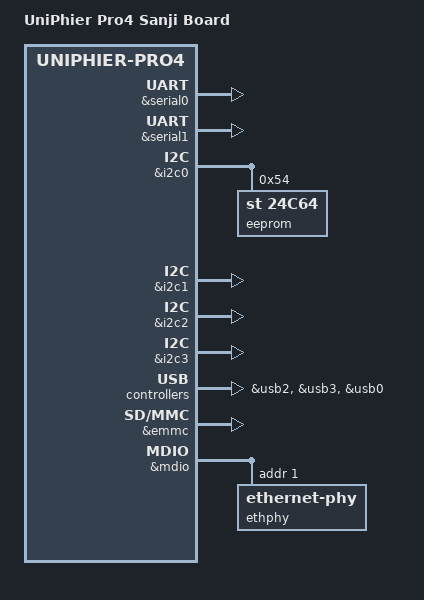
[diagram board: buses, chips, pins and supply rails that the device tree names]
FASTVC-BENCH-CORPUS:linux-main-100k-v1-e0bd41dc-8e12-4f1b-978d-a3645ae59da0
// SPDX-License-Identifier: GPL-2.0+ OR MIT
//
// Device Tree Source for UniPhier Pro4 Sanji Board
//
// Copyright (C) 2016 Socionext Inc.
//   Author: Masahiro Yamada <yamada.masahiro@socionext.com>

/dts-v1/;
#include "uniphier-pro4.dtsi"

/ {
	model = "UniPhier Pro4 Sanji Board";
	compatible = "socionext,uniphier-pro4-sanji", "socionext,uniphier-pro4";

	chosen {
		stdout-path = "serial0:115200n8";
	};

	aliases {
		serial0 = &serial0;
		serial1 = &serial1;
		i2c0 = &i2c0;
		i2c1 = &i2c1;
		i2c2 = &i2c2;
		i2c3 = &i2c3;
		i2c5 = &i2c5;
		i2c6 = &i2c6;
		ethernet0 = &eth;
	};

	memory@80000000 {
		device_type = "memory";
/* bench 21260.0.0 2c805a37257e */
/* bench 21260.0.1 e1d9a8d7ac07 */
/* bench 21260.0.2 b8279c955eae */
};

&serial0 {
	status = "okay";
};

&serial1 {
	status = "okay";
};

&i2c0 {
	status = "okay";

	eeprom@54 {
		compatible = "st,24c64", "atmel,24c64";
		reg = <0x54>;
		pagesize = <32>;
	};
};

&i2c1 {
	status = "okay";
};

&i2c2 {
	status = "okay";
};

&i2c3 {
	status = "okay";
};

&usb2 {
	status = "okay";
};

&usb3 {
	status = "okay";
};

&emmc {
	status = "okay";
};

&eth {
	status = "okay";
	phy-handle = <&ethphy>;
};

&mdio {
	ethphy: ethernet-phy@1 {
		reg = <1>;
	};
};

&usb0 {
	status = "okay";
};
/* bench 1748.1.0 e55bd30dde17 */
/* bench 1748.1.1 0b80fe052fe5 */
/* bench 1748.1.2 26718ffb7ff3 */
/* bench 1748.1.3 24b11a93ef6a */
/* bench 1748.1.4 3d10f70b1a31 */
/* bench 1748.1.5 860b7a80a751 */
/* bench 1748.1.6 8f6b992eba75 */
/* bench 1748.1.7 98d349d507c3 */
};
